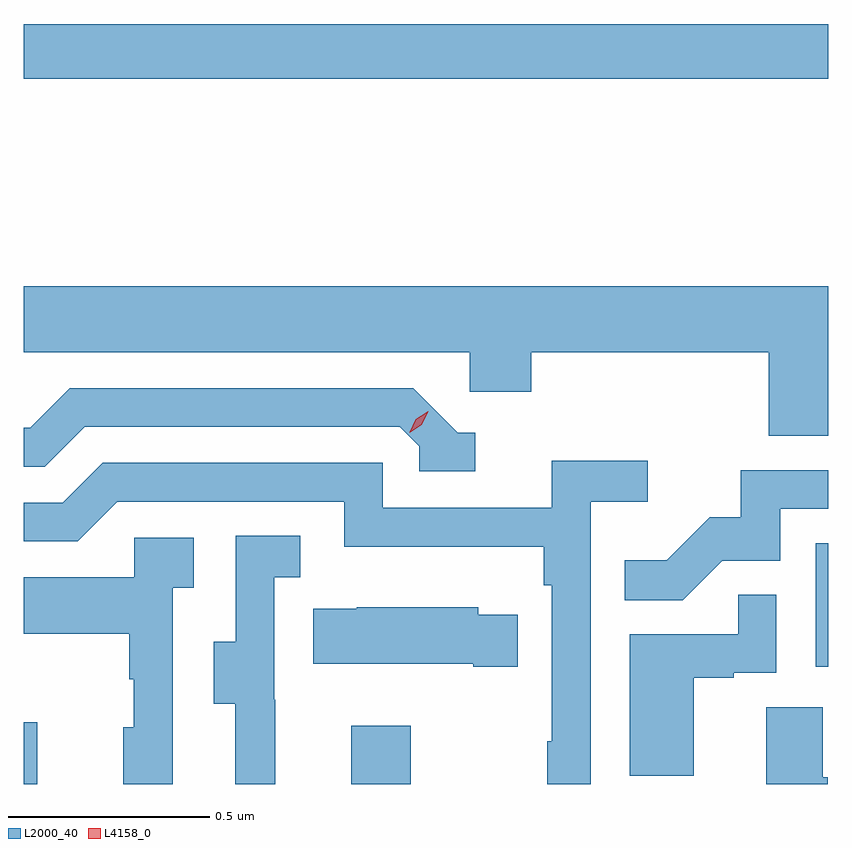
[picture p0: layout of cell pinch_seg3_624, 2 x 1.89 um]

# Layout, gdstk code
import gdstk
lib = gdstk.Library(unit=1e-6, precision=1e-09)
def R(c, l, rs):  # rectangles x0, y0, x1, y1
    for r in rs: c.add(gdstk.rectangle(r[:2], r[2:], *l))
def P(c, l, *ps):  # polygons
    for p in ps: c.add(gdstk.Polygon(p, *l))
L2000_40 = (2000, 40)
L4158_0 = (4158, 0)

pinch_seg3_624 = lib.new_cell('pinch_seg3_624')
R(pinch_seg3_624, L2000_40, [(1025.419,705.171,1025.453,705.325), (1026.233,705.171,1026.381,705.316), (1027.388,705.462,1027.419,705.769), (1025.419,706.924,1027.419,707.06)])
P(pinch_seg3_624, L2000_40, [(1027.419,706.408),(1025.419,706.408),(1025.419,706.244),(1026.528,706.244),(1026.528,706.146),(1026.68,706.146),(1026.68,706.244),(1027.271,706.244),(1027.271,706.036),(1027.419,706.036)],
  [(1026.541,706.044),(1026.498,706.044),(1026.387,706.155),(1025.534,706.155),(1025.435,706.056),(1025.419,706.056),(1025.419,705.96),(1025.472,705.96),(1025.571,706.059),(1026.354,706.059),(1026.402,706.011),(1026.402,705.948),(1026.541,705.948)],
  [(1026.828,705.872),(1026.97,705.872),(1026.97,705.974),(1026.731,705.974),(1026.731,705.858),(1026.312,705.858),(1026.312,705.969),(1025.615,705.969),(1025.516,705.87),(1025.419,705.87),(1025.419,705.774),(1025.553,705.774),(1025.652,705.873),(1026.216,705.873),(1026.216,705.761),(1026.712,705.761),(1026.712,705.665),(1026.732,705.665),(1026.732,705.277),(1026.72,705.277),(1026.72,705.171),(1026.828,705.171)],
  [(1027.155,705.726),(1027.299,705.726),(1027.299,705.855),(1027.419,705.855),(1027.419,705.951),(1027.201,705.951),(1027.201,705.834),(1027.124,705.834),(1027.017,705.727),(1026.913,705.727),(1026.913,705.628),(1027.057,705.628)],
  [(1026.044,705.381),(1026.042,705.381),(1026.042,705.685),(1026.106,705.685),(1026.106,705.788),(1025.946,705.788),(1025.946,705.525),(1025.891,705.525),(1025.891,705.37),(1025.945,705.37),(1025.945,705.171),(1026.044,705.171)],
  [(1025.79,705.659),(1025.842,705.659),(1025.842,705.783),(1025.694,705.783),(1025.694,705.685),(1025.419,705.685),(1025.419,705.545),(1025.682,705.545),(1025.682,705.431),(1025.692,705.431),(1025.692,705.312),(1025.666,705.312),(1025.666,705.171),(1025.79,705.171)],
  [(1027.084,705.435),(1027.184,705.435),(1027.184,705.447),(1027.29,705.447),(1027.29,705.641),(1027.195,705.641),(1027.195,705.543),(1026.926,705.543),(1026.926,705.192),(1027.084,705.192)],
  [(1026.647,705.592),(1026.549,705.592),(1026.549,705.61),(1026.247,705.61),(1026.247,705.607),(1026.139,705.607),(1026.139,705.47),(1026.536,705.47),(1026.536,705.463),(1026.647,705.463)],
  [(1027.418,705.188),(1027.405,705.188),(1027.405,705.362),(1027.265,705.362),(1027.265,705.171),(1027.418,705.171)])
P(pinch_seg3_624, L4158_0, [(1026.379,706.044),(1026.379,706.045),(1026.394,706.078),(1026.424,706.098),(1026.424,706.098),(1026.424,706.097),(1026.409,706.064),(1026.379,706.044)])

lib.write_gds('pinch_seg3_624.gds')
